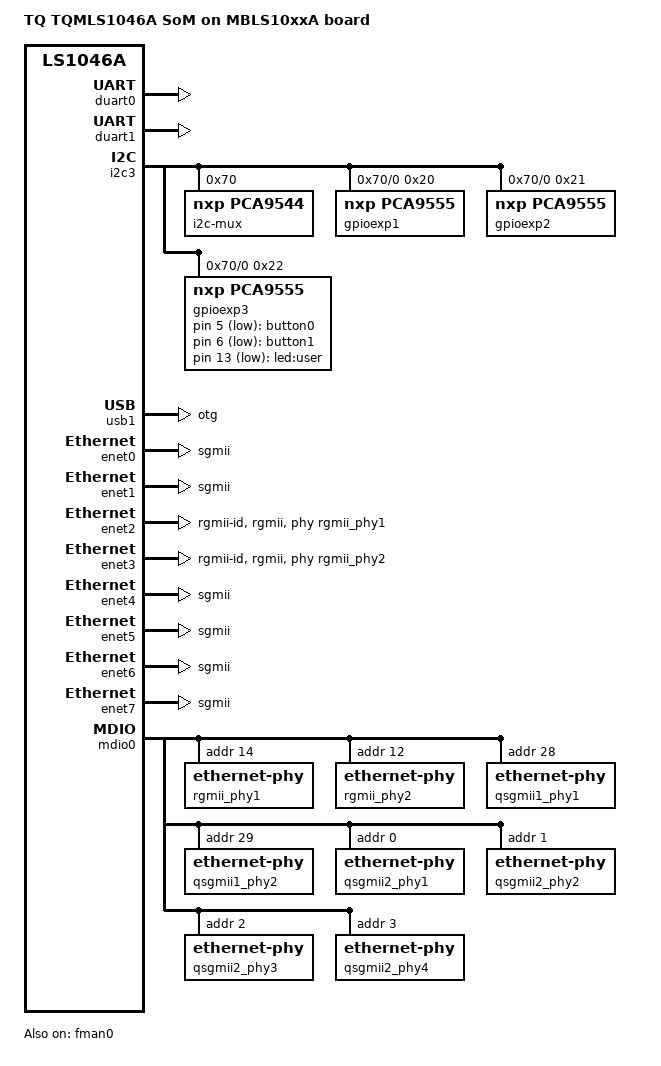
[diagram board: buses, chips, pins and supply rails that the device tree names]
// SPDX-License-Identifier: (GPL-2.0+ OR MIT)
/*
 * Device Tree Include file for TQMLS1046A SoM on MBLS10xxA from TQ
 *
 * Copyright 2018 TQ-Systems GmbH
 */

/dts-v1/;

#include <dt-bindings/input/input.h>
#include <dt-bindings/gpio/gpio.h>

#include "fsl-tqmls1046a.dtsi"
#include "fsl-ls1046a.dtsi"

/ {
	model = "TQ TQMLS1046A SoM on MBLS10xxA board";
	compatible = "tqc,tqmls1046a", "fsl,ls1046a";

	aliases {
		serial0 = &duart0;
		serial1 = &duart1;
		qspiflash0 = &qflash0;
		qspiflash1 = &qflash1;
		qsgmii_s1_p1 = &qsgmii1_phy1;
		qsgmii_s1_p2 = &qsgmii1_phy2;
		qsgmii_s2_p1 = &qsgmii2_phy1;
		qsgmii_s2_p2 = &qsgmii2_phy2;
		qsgmii_s2_p3 = &qsgmii2_phy3;
		qsgmii_s2_p4 = &qsgmii2_phy4;
	};

	chosen {
		stdout-path = "serial1:115200n8";

		environment-sd {
			compatible = "barebox,environment";
			device-path = &environment_sd;
			status = "disabled";
		};

		environment-qspi {
			compatible = "barebox,environment";
			device-path = &environment_qspi;
			status = "disabled";
		};
	};

	gpio-keys-polled {
		compatible = "gpio-keys-polled";
		gpio-keys,name = "gpio-keys";
		poll-interval = <100>;
		autorepeat;

		button0 {
			label = "button0";
			gpios = <&gpioexp3 5 GPIO_ACTIVE_LOW>;
			linux,code = <KEY_F1>;
		};

		button1 {
			label = "button1";
			gpios = <&gpioexp3 6 GPIO_ACTIVE_LOW>;
			linux,code = <KEY_F2>;
		};
	};

	leds {
		compatible = "gpio-leds";

		user {
			gpios = <&gpioexp3 13 GPIO_ACTIVE_LOW>;
			label = "led:user";
			linux,default-trigger = "heartbeat";
		};
	};

};

&esdhc {
	partitions {
		#address-cells = <1>;
		#size-cells = <1>;

		compatible = "fixed-partitions";

		partition@1000 {
			label = "barebox";
			reg = <0x1000 0xdf000>;
		};

		environment_sd: partition@e0000 {
			label = "barebox-environment";
			reg = <0xe0000 0x20000>;
		};
	};
};

&duart0 {
	status = "okay";
};

&duart1 {
	status = "okay";
};

&esdhc {
	mmc-hs200-1_8v;
	sd-uhs-sdr104;
	sd-uhs-sdr50;
	sd-uhs-sdr25;
	sd-uhs-sdr12;
};

&i2c3 {
	status = "okay";

	i2c-mux@70 {
		compatible = "nxp,pca9544";
		reg = <0x70>;
		#address-cells = <1>;
		#size-cells = <0>;

		i2c@0 {
			#address-cells = <1>;
			#size-cells = <0>;
			reg = <0x0>;

			gpioexp1: pca9555@20 {
				compatible = "nxp,pca9555";
				reg = <0x20>;
				gpio-controller;
				#gpio-cells = <2>;
				gpio-line-names = "sd1_3_lane_a_mux",
						  "sd1_2_lane_b_mux",
						  "sd1_0_lane_d_mux",
						  "sd2_1_lane_b_mux",
						  "sd2_3_lane_d_mux1",
						  "sd2_3_lane_d_mux2",
						  "sd_mux_shdn",
						  "sd1_ref_clk2_sel",
						  "mpcie1_disable_n",
						  "mpcie1_wake_n",
						  "mpcie2_disable_n",
						  "mpcie2_wake_n",
						  "prsnt_n",
						  "pcie_pwr_en",
						  "dcdc_pwr_en",
						  "dcdc_pgood_1v8";
			};

			gpioexp2: pca9555@21 {
				compatible = "nxp,pca9555";
				reg = <0x21>;
				gpio-controller;
				#gpio-cells = <2>;
				gpio-line-names = "xfi1_tx_dis",
						  "xfi1_tx_fault",
						  "xfi1_moddef_det",
						  "xfi1_rx_loss",
						  "retimer1_loss",
						  "xfi1_ensmb",
						  "qsgmii1_clk_sel0",
						  "qsgmii_phy1_config3",
						  "xfi2_tx_fault",
						  "xfi2_tx_dis",
						  "xfi2_moddef_det",
						  "xfi2_rx_loss",
						  "retimer2_loss",
						  "xfi2_ensmb",
						  "qsgmii2_clk_sel0",
						  "qsgmii_phy2_config3";
			};

			gpioexp3: pca9555@22 {
				compatible = "nxp,pca9555";
				reg = <0x22>;
				gpio-controller;
				#gpio-cells = <2>;
				gpio-line-names = "ec1_phy_pwdn",
						  "ec2_phy_pwdn",
						  "usb_c_pwron",
						  "usb_en_oc_3v3_n",
						  "usb_h_grst_n",
						  "gpio_button0",
						  "gpio_button1",
						  "sda_pwr_en",
						  "qsgmii_phy1_int_n",
						  "qsgmii_phy2_int_n",
						  "spi_clko_sof",
						  "spi_int",
						  "can_sel",
						  "led_n",
						  "pcie_rst_3v3_n",
						  "pcie_wake_3v3_n";
			};
		};

		i2c@1 {
			#address-cells = <1>;
			#size-cells = <0>;
			reg = <0x1>;
		};

		i2c@2 {
			#address-cells = <1>;
			#size-cells = <0>;
			reg = <0x2>;
		};

		i2c@3 {
			#address-cells = <1>;
			#size-cells = <0>;
			reg = <0x3>;
		};
	};
};

&usb1 {
	dr_mode = "otg";
};

#include <arm64/freescale/fsl-ls1046-post.dtsi>
#include <dt-bindings/net/ti-dp83867.h>

&fman0 {
	status = "okay";
};

&enet0 { /* EMAC.1 */
	phy-connection-type = "sgmii";
};

&enet1 { /* EMAC.2 */
	phy-connection-type = "sgmii";
};

&enet2 { /* EMAC.3 */
	phy-handle = <&rgmii_phy1>;
	phy-connection-type = "rgmii";
	phy-mode = "rgmii-id";
};

&enet3 { /* EMAC.4 */
	phy-handle = <&rgmii_phy2>;
	phy-connection-type = "rgmii";
	phy-mode = "rgmii-id";
};

&enet4 { /* EMAC.5 */
	phy-connection-type = "sgmii";
};

&enet5 { /* EMAC.6 */
	phy-connection-type = "sgmii";
};

&enet6 { /* EMAC.9 */
	phy-connection-type = "sgmii";
};

&enet7 { /* EMAC.10 */
	phy-connection-type = "sgmii";
};

&{fman0/mdio@e1000} {
	status = "disabled";
};

&{fman0/mdio@e3000} {
	status = "disabled";
};

&{fman0/mdio@e5000} {
	status = "disabled";
};

&{fman0/mdio@e7000} {
	status = "disabled";
};

&{fman0/mdio@e9000} {
	status = "disabled";
};

&{fman0/mdio@eb000} {
	status = "disabled";
};

&{fman0/mdio@f1000} {
	status = "disabled";
};

&{fman0/mdio@f3000} {
	status = "disabled";
};

&mdio0 {
	rgmii_phy1: ethernet-phy@0e {
		reg = <0x0e>;
		ti,rx-internal-delay = <DP83867_RGMIIDCTL_1_50_NS>;
		ti,tx-internal-delay = <DP83867_RGMIIDCTL_1_50_NS>;
		ti,fifo-depth = <DP83867_PHYCR_FIFO_DEPTH_8_B_NIB>;
	};

	rgmii_phy2: ethernet-phy@0c {
		reg = <0x0c>;
		ti,rx-internal-delay = <DP83867_RGMIIDCTL_1_50_NS>;
		ti,tx-internal-delay = <DP83867_RGMIIDCTL_1_50_NS>;
		ti,fifo-depth = <DP83867_PHYCR_FIFO_DEPTH_8_B_NIB>;
	};

	qsgmii1_phy1: ethernet-phy@1c {
		reg = <0x1c>;
	};

	qsgmii1_phy2: ethernet-phy@1d {
		reg = <0x1d>;
	};

	qsgmii2_phy1: ethernet-phy@00 {
		reg = <0x00>;
	};

	qsgmii2_phy2: ethernet-phy@01 {
		reg = <0x01>;
	};

	qsgmii2_phy3: ethernet-phy@02 {
		reg = <0x02>;
	};

	qsgmii2_phy4: ethernet-phy@03 {
		reg = <0x03>;
	};
};

&xmdio0 {
	status = "disabled";
};

&qflash0 {
	partitions {
		#address-cells = <1>;
		#size-cells = <1>;

		compatible = "fixed-partitions";

		partition@0 {
			label = "barebox";
			reg = <0x0 0x200000>;
		};

		environment_qspi: partition@200000 {
			label = "barebox-environment";
			reg = <0x200000 0x80000>;
		};

		partition@280000 {
			label = "data";
			reg = <0x280000 0x0>;
		};
	};
};
